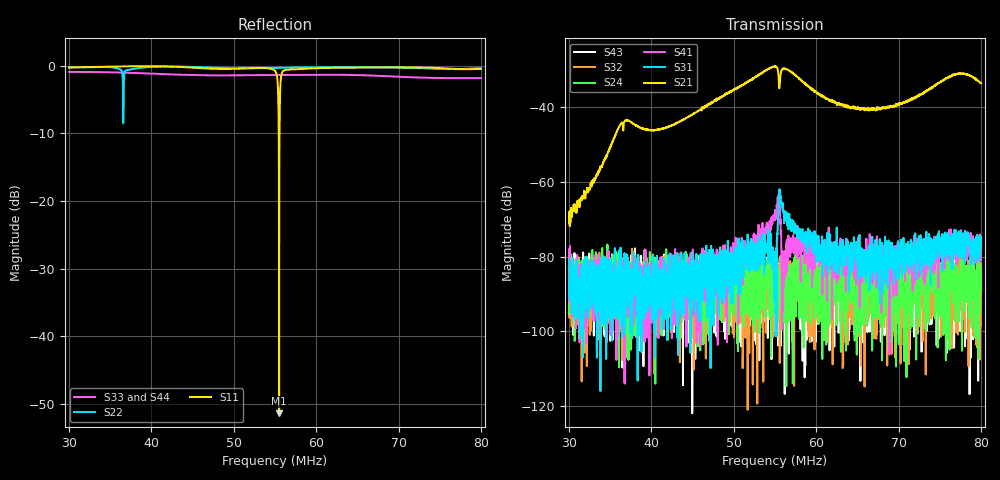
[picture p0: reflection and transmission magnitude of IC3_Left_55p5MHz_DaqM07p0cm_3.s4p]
#  HZ  S  DB  R  50.00
! Rohde & Schwarz Vector Network Analyzer
! Rohde-Schwarz,ZNB8-4Port,1311601044102961,2.82
! Created: UTC 2/13/2019, 9:32:34 AM
! freq[Hz]  db:S11  ang:S11  db:S12  ang:S12  db:S13  ang:S13  db:S14  ang:S14
!  db:S21  ang:S21  db:S22  ang:S22  db:S23  ang:S23  db:S24  ang:S24
!  db:S31  ang:S31  db:S32  ang:S32  db:S33  ang:S33  db:S34  ang:S34
!  db:S41  ang:S41  db:S42  ang:S42  db:S43  ang:S43  db:S44  ang:S44
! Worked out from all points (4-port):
!   2001 points, 30 MHz to 80 MHz, reference 50 ohm
!   strongest paths, dB at 30 MHz, 42.5 MHz, 55 MHz, 67.5 MHz, 80 MHz:
!     S21: -71.0, -44.8, -29.0, -40.0, -33.5
!     S31: -80.8, -88.5, -85.2, -81.5, -76.8
!     S41: -88.8, -87.5, -67.5, -85.5, -80.9
!     S24: -95.2, -94.2, -87.1, -84.5, -84.0
!     S32: -82.7, -92.5, -88.6, -92.4, -98.5
!     S43: -80.6, -84.4, -89.2, -87.8, -88.2
!   lowest |S11| = -51.4 dB at 55.5 MHz (marker M1), VSWR 1.01, Z = 50 + j0.269 ohm
!   |S11| at or under -10 dB: 55.45123 MHz to 55.54856 MHz (97.33 kHz wide, 0.175 % of centre)
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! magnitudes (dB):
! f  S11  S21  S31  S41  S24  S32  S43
! 30 MHz  -0.3  -71.0  -80.8  -88.8  -95.2  -82.7  -80.6
! 36.9 MHz  -0.1  -43.6  -88.6  -81.3  -100.0  -87.2  -86.3
! 54.98 MHz  -0.7  -29.1  -79.4  -69.6  -91.5  -91.1  -84.4
! 55.5 MHz  -51.4  -34.6  -64.5  -63.7  -93.9  -94.7  -85.5
! 56.02 MHz  -0.8  -29.6  -67.7  -82.7  -83.8  -85.7  -86.5
! 65.53 MHz  -0.3  -40.5  -77.9  -77.7  -82.7  -85.9  -91.2
! 80 MHz  -0.5  -33.5  -76.8  -80.9  -84.0  -98.5  -88.2
